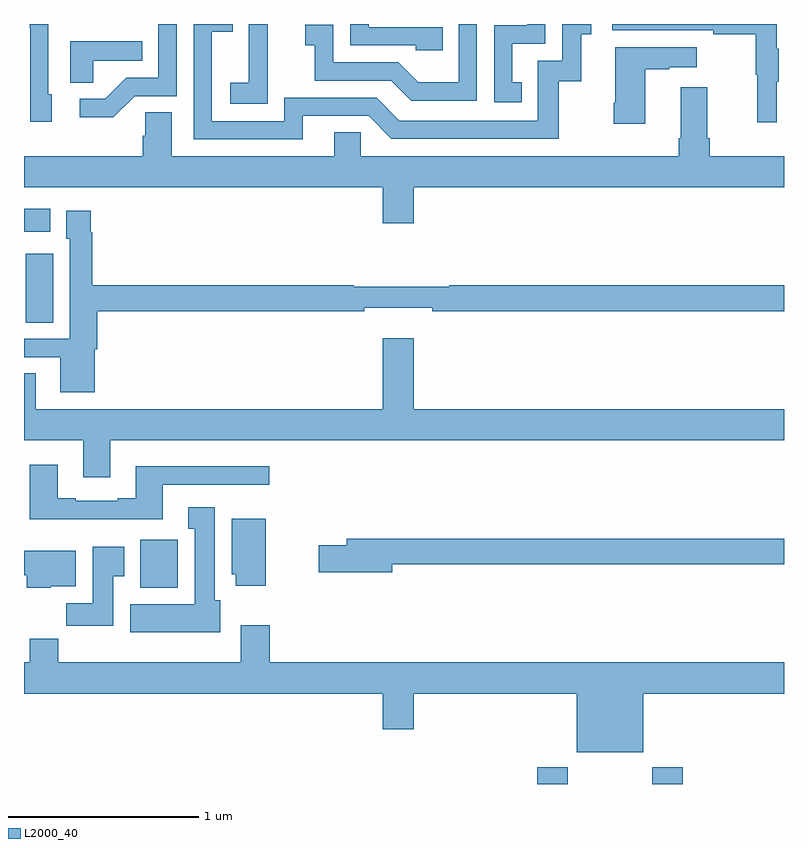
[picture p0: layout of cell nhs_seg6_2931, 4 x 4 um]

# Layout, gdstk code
import gdstk
lib = gdstk.Library(unit=1e-6, precision=1e-09)
def R(c, l, rs):  # rectangles x0, y0, x1, y1
    for r in rs: c.add(gdstk.rectangle(r[:2], r[2:], *l))
def P(c, l, *ps):  # polygons
    for p in ps: c.add(gdstk.Polygon(p, *l))
L2000_40 = (2000, 40)

nhs_seg6_2931 = lib.new_cell('nhs_seg6_2931')
R(nhs_seg6_2931, L2000_40, [(285.701,973.5,285.861,973.588), (286.306,973.5,286.466,973.588), (283.613,974.534,283.809,974.785), (283.01,975.928,283.153,976.291), (283,976.406,283.138,976.528)])
P(nhs_seg6_2931, L2000_40, [(283.147,977.13),(283.128,977.13),(283.128,977.5),(283.03,977.5),(283.03,977.479),(283.032,977.479),(283.032,976.986),(283.147,976.986)],
  [(286.961,977.195),(286.972,977.195),(286.972,977.369),(286.961,977.369),(286.961,977.5),(286.095,977.5),(286.095,977.466),(286.627,977.466),(286.627,977.446),(286.851,977.446),(286.851,977.232),(286.858,977.232),(286.858,976.983),(286.961,976.983)],
  [(285.384,977.5),(285.288,977.5),(285.288,977.194),(285.074,977.194),(284.97,977.298),(284.628,977.298),(284.628,977.497),(284.481,977.497),(284.481,977.387),(284.53,977.387),(284.53,977.202),(284.933,977.202),(285.038,977.097),(285.384,977.097)],
  [(284.467,977.016),(284.814,977.016),(284.934,976.896),(285.814,976.896),(285.814,977.199),(285.932,977.199),(285.932,977.445),(285.985,977.445),(285.985,977.5),(285.834,977.5),(285.834,977.307),(285.705,977.307),(285.705,976.992),(284.976,976.992),(284.856,977.112),(284.37,977.112),(284.37,976.989),(283.989,976.989),(283.989,977.458),(284.099,977.458),(284.099,977.5),(283.893,977.5),(283.893,976.893),(284.467,976.893)],
  [(285.203,977.484),(284.814,977.484),(284.814,977.5),(284.718,977.5),(284.718,977.388),(285.063,977.388),(285.063,977.361),(285.203,977.361)],
  [(284.283,977.287),(284.282,977.287),(284.282,977.5),(284.184,977.5),(284.184,977.42),(284.183,977.42),(284.183,977.191),(284.085,977.191),(284.085,977.081),(284.283,977.081)],
  [(285.62,977.193),(285.571,977.193),(285.571,977.397),(285.744,977.397),(285.744,977.5),(285.648,977.5),(285.648,977.493),(285.474,977.493),(285.474,977.088),(285.62,977.088)],
  [(283.584,977.121),(283.803,977.121),(283.803,977.5),(283.707,977.5),(283.707,977.217),(283.538,977.217),(283.427,977.106),(283.293,977.106),(283.293,977.009),(283.471,977.009)],
  [(283.365,977.306),(283.622,977.306),(283.622,977.41),(283.244,977.41),(283.244,977.191),(283.365,977.191)],
  [(286.27,977.263),(286.397,977.263),(286.397,977.273),(286.54,977.273),(286.54,977.377),(286.112,977.377),(286.112,977.086),(286.105,977.086),(286.105,976.974),(286.27,976.974)],
  [(285.052,976.64),(287,976.64),(287,976.804),(286.61,976.804),(286.61,976.9),(286.597,976.9),(286.597,977.167),(286.457,977.167),(286.457,976.9),(286.445,976.9),(286.445,976.804),(284.772,976.804),(284.772,976.931),(284.633,976.931),(284.633,976.804),(283.777,976.804),(283.777,977.036),(283.638,977.036),(283.638,976.913),(283.625,976.913),(283.625,976.804),(283,976.804),(283,976.64),(284.888,976.64),(284.888,976.452),(285.052,976.452)],
  [(283.372,975.789),(283.385,975.789),(283.385,975.988),(284.792,975.988),(284.792,976.007),(285.148,976.007),(285.148,975.988),(287,975.988),(287,976.124),(285.239,976.124),(285.239,976.117),(284.735,976.117),(284.735,976.124),(283.358,976.124),(283.358,976.403),(283.351,976.403),(283.351,976.516),(283.223,976.516),(283.223,976.371),(283.242,976.371),(283.242,975.843),(283,975.843),(283,975.747),(283.19,975.747),(283.19,975.563),(283.372,975.563)],
  [(283.453,975.308),(287,975.308),(287,975.472),(285.052,975.472),(285.052,975.847),(284.888,975.847),(284.888,975.472),(283.063,975.472),(283.063,975.662),(283,975.662),(283,975.308),(283.313,975.308),(283.313,975.114),(283.453,975.114)],
  [(283.729,975.075),(284.29,975.075),(284.29,975.172),(283.589,975.172),(283.589,975.004),(283.493,975.004),(283.493,974.991),(283.273,974.991),(283.273,975.004),(283.177,975.004),(283.177,975.181),(283.03,975.181),(283.03,974.894),(283.729,974.894)],
  [(284.032,974.466),(284.005,974.466),(284.005,974.956),(283.865,974.956),(283.865,974.843),(283.898,974.843),(283.898,974.446),(283.559,974.446),(283.559,974.3),(284.032,974.3)],
  [(284.272,974.896),(284.093,974.896),(284.093,974.604),(284.114,974.604),(284.114,974.544),(284.272,974.544)],
  [(284.938,974.656),(287,974.656),(287,974.792),(284.699,974.792),(284.699,974.756),(284.55,974.756),(284.55,974.614),(284.938,974.614)],
  [(283.471,974.593),(283.528,974.593),(283.528,974.749),(283.361,974.749),(283.361,974.452),(283.222,974.452),(283.222,974.334),(283.471,974.334)],
  [(283.14,974.54),(283.273,974.54),(283.273,974.728),(283,974.728),(283,974.599),(283.015,974.599),(283.015,974.534),(283.14,974.534)],
  [(286.258,973.976),(287,973.976),(287,974.14),(284.294,974.14),(284.294,974.335),(284.141,974.335),(284.141,974.14),(283.181,974.14),(283.181,974.264),(283.03,974.264),(283.03,974.14),(283,974.14),(283,973.976),(284.888,973.976),(284.888,973.788),(285.052,973.788),(285.052,973.976),(285.908,973.976),(285.908,973.667),(286.258,973.667)])

lib.write_gds('nhs_seg6_2931.gds')
